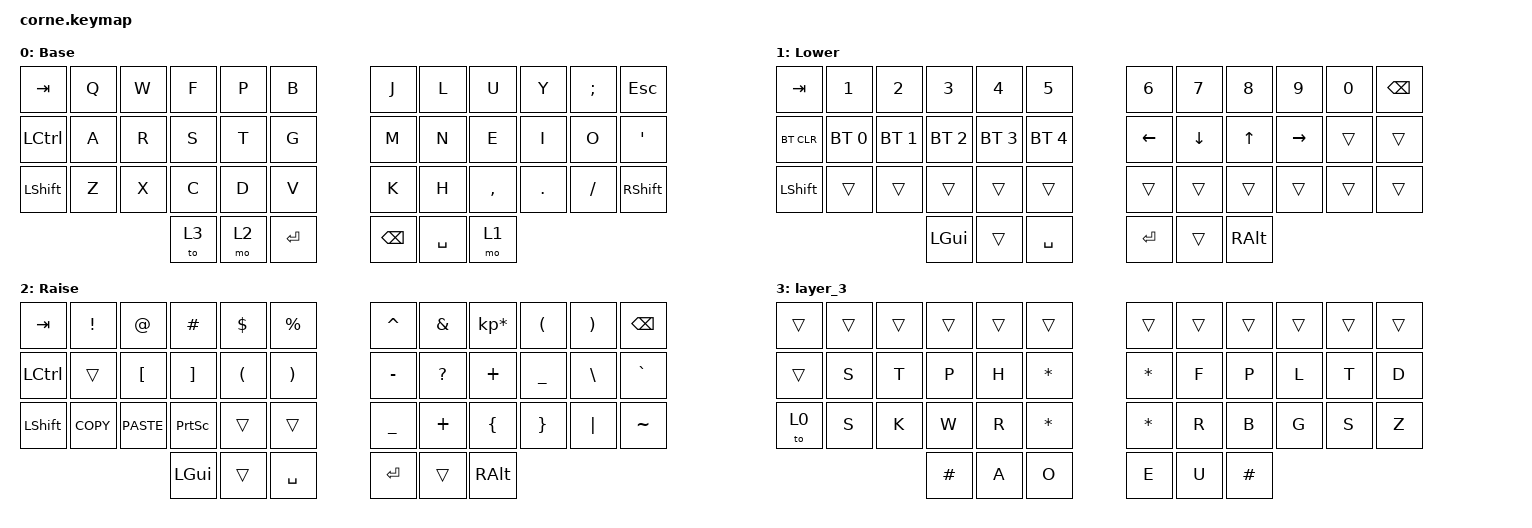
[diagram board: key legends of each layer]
/*
 * Copyright (c) 2020 The ZMK Contributors
 *
 * SPDX-License-Identifier: MIT
 */

#include <behaviors.dtsi>
#include <dt-bindings/zmk/bt.h>
#include <dt-bindings/zmk/keys.h>

/ {
    keymap {
        compatible = "zmk,keymap";

        default_layer {
            // -----------------------------------------------------------------------------------------
            // |  TAB |  Q  |  W  |  E  |  R  |  T  |   |  Y  |  U   |  I  |  O  |  P  | BKSP |
            // | CTRL |  A  |  S  |  D  |  F  |  G  |   |  H  |  J   |  K  |  L  |  ;  |  '   |
            // | SHFT |  Z  |  X  |  C  |  V  |  B  |   |  N  |  M   |  ,  |  .  |  /  | ESC  |
            //                    | GUI | LWR | SPC |   | ENT | RSE  | ALT |

            display-name = "Base";
            bindings = <
&kp TAB    &kp Q  &kp W  &kp F  &kp P  &kp B        &kp J          &kp L      &kp U      &kp Y    &kp SEMICOLON  &kp ESC
&kp LCTRL  &kp A  &kp R  &kp S  &kp T  &kp G        &kp M          &kp N      &kp E      &kp I    &kp O          &kp SQT
&kp LSHFT  &kp Z  &kp X  &kp C  &kp D  &kp V        &kp K          &kp H      &kp COMMA  &kp DOT  &kp FSLH       &kp RIGHT_SHIFT
                         &to 3  &mo 2  &kp ENTER    &kp BACKSPACE  &kp SPACE  &mo 1
            >;
        };

        lower_layer {
            // -----------------------------------------------------------------------------------------
            // |  TAB |  1  |  2  |  3  |  4  |  5  |   |  6  |  7  |  8  |  9  |  0  | BKSP |
            // | BTCLR| BT1 | BT2 | BT3 | BT4 | BT5 |   | LFT | DWN |  UP | RGT |     |      |
            // | SHFT |     |     |     |     |     |   |     |     |     |     |     |      |
            //                    | GUI |     | SPC |   | ENT |     | ALT |

            display-name = "Lower";
            bindings = <
&kp TAB     &kp N1        &kp N2        &kp N3        &kp N4        &kp N5          &kp N6    &kp N7    &kp N8    &kp N9     &kp N0  &kp BSPC
&bt BT_CLR  &bt BT_SEL 0  &bt BT_SEL 1  &bt BT_SEL 2  &bt BT_SEL 3  &bt BT_SEL 4    &kp LEFT  &kp DOWN  &kp UP    &kp RIGHT  &trans  &trans
&kp LSHFT   &trans        &trans        &trans        &trans        &trans          &trans    &trans    &trans    &trans     &trans  &trans
                                        &kp LGUI      &trans        &kp SPACE       &kp RET   &trans    &kp RALT
            >;
        };

        raise_layer {
            // -----------------------------------------------------------------------------------------
            // |  TAB |  !  |  @  |  #  |  $  |  %  |   |  ^  |  &  |  *  |  (  |  )  | BKSP |
            // | CTRL |     |     |     |     |     |   |  -  |  =  |  [  |  ]  |  \  |  `   |
            // | SHFT |     |     |     |     |     |   |  _  |  +  |  {  |  }  | "|" |  ~   |
            //                    | GUI |     | SPC |   | ENT |     | ALT |

            display-name = "Raise";
            bindings = <
&kp TAB    &kp EXCL    &kp AT            &kp HASH         &kp DLLR              &kp PRCNT                &kp CARET  &kp AMPS      &kp KP_MULTIPLY  &kp LPAR        &kp RPAR  &kp BSPC
&kp LCTRL  &trans      &kp LEFT_BRACKET  &kp RBKT         &kp LEFT_PARENTHESIS  &kp RIGHT_PARENTHESIS    &kp MINUS  &kp QUESTION  &kp PLUS         &kp UNDERSCORE  &kp BSLH  &kp GRAVE
&kp LSHFT  &kp K_COPY  &kp K_PASTE       &kp PRINTSCREEN  &trans                &trans                   &kp UNDER  &kp PLUS      &kp LBRC         &kp RBRC        &kp PIPE  &kp TILDE
                                         &kp LGUI         &trans                &kp SPACE                &kp RET    &trans        &kp RALT
            >;
        };

        layer_3 {
            bindings = <
&trans  &trans  &trans  &trans    &trans  &trans          &trans        &trans  &trans    &trans  &trans  &trans
&trans  &kp S   &kp T   &kp P     &kp H   &kp ASTERISK    &kp ASTRK     &kp F   &kp P     &kp L   &kp T   &kp D
&to 0   &kp S   &kp K   &kp W     &kp R   &kp ASTERISK    &kp ASTERISK  &kp R   &kp B     &kp G   &kp S   &kp Z
                        &kp HASH  &kp A   &kp O           &kp E         &kp U   &kp HASH
            >;
        };
    };
};
